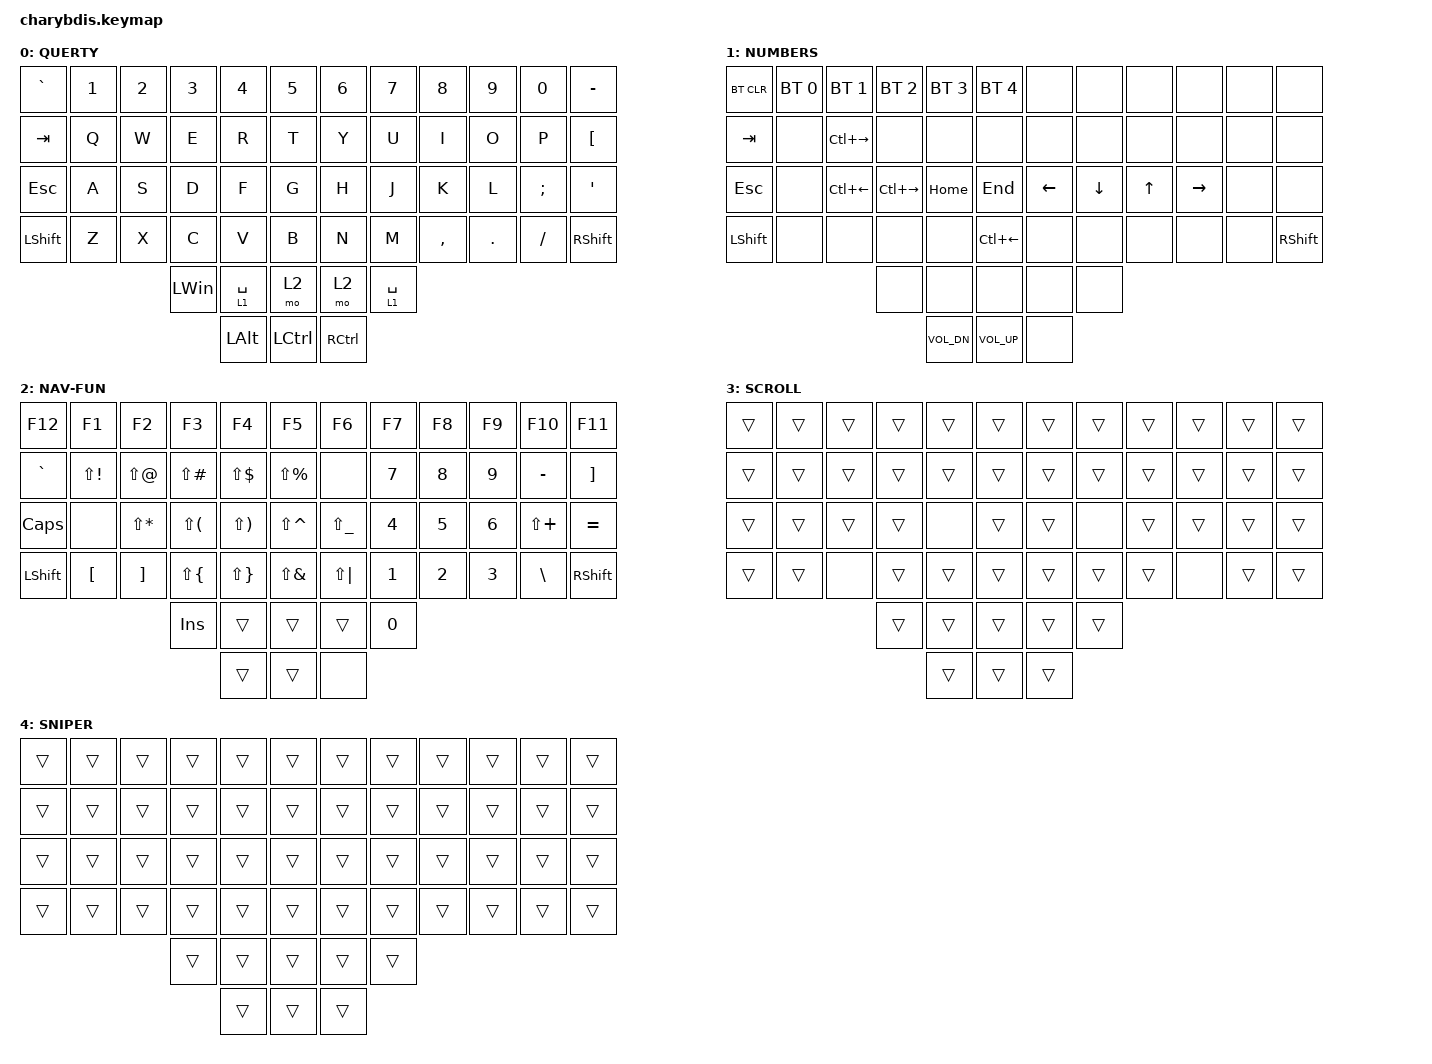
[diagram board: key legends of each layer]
#include "keys_de_swiss.h"
#include <dt-bindings/zmk/mouse.h>
#include <behaviors/mouse_keys.dtsi>
#include <behaviors.dtsi>
#include <dt-bindings/zmk/bt.h>
#include <dt-bindings/zmk/keys.h>
#include <dt-bindings/zmk/pointing.h>

// / {
//     chosen { zmk,matrix_transform = &default_transform; };
// };

/ {
    /* input config for mouse move mode */

    trackball_listener {
        compatible = "zmk,input-behavior-listener";
        device = <&vtrackball>;
        layers = <0 1 2>;
        evt-type = <INPUT_EV_REL>;
        x-input-code = <INPUT_REL_X>;
        y-input-code = <INPUT_REL_Y>;
        scale-multiplier = <1>;
        scale-divisor = <2>;

        // bindings = <&ib_toggle_layer 7>;
    };

    /* input config for snipe mode */

    trackball_snipe_listener {
        compatible = "zmk,input-behavior-listener";
        device = <&vtrackball>;
        layers = <4>;
        evt-type = <INPUT_EV_REL>;
        x-input-code = <INPUT_REL_X>;
        y-input-code = <INPUT_REL_Y>;
        scale-multiplier = <1>;
        scale-divisor = <4>;
    };

    /* input config for mouse scroll mode */

    trackball_scroll_listener {
        compatible = "zmk,input-behavior-listener";
        device = <&vtrackball>;
        layers = <3>;
        evt-type = <INPUT_EV_REL>;
        x-input-code = <INPUT_REL_HWHEEL>;
        y-input-code = <INPUT_REL_WHEEL>;
        bindings = <&ib_hwheel_scaler 1 14 &ib_wheel_scaler 1 14>;
    };

    /* define a resolution down scaler only for INPUT_REL_WHEEL */

    ib_wheel_scaler: ib_wheel_scaler {
        compatible = "zmk,input-behavior-scaler";
        #binding-cells = <2>;
        evt-type = <INPUT_EV_REL>;
        input-code = <INPUT_REL_WHEEL>;
    };

    ib_hwheel_scaler: ib_hwheel_scaler {
        compatible = "zmk,input-behavior-scaler";
        #binding-cells = <2>;
        evt-type = <INPUT_EV_REL>;
        input-code = <INPUT_REL_HWHEEL>;  // Different input code
    };

    /* adjust cooldown waiting period for mouse key layer after activated */

    ib_toggle_layer: ib_toggle_layer {
        compatible = "zmk,input-behavior-tog-layer";
        #binding-cells = <1>;
        time-to-live-ms = <750>;
    };

    // #define QUERTZ    0
    // #define NUMBERS   1
    // #define NAV-FUN   2
    // #define MAC       3
    // #define MAC-NUM   4
    // #define MAC-NAV   5
    // #define GAME      6
    // #define GAME-NUM  7
    // #define GAME-NAV  8
    // #define SCROLL    9
    // #define SNIPER   10
    // #define FN       11

    combos {
        compatible = "zmk,combos";

        bootloader {
            bindings = <&bootloader>;
            key-positions = <0 11>;
        };

        studio_unlock {
            bindings = <&studio_unlock>;
            key-positions = <0 4>;
        };

        scroll {
            bindings = <&tog 3>;
            key-positions = <44 45>;
        };

        enter {
            bindings = <&kp ENTER>;
            key-positions = <20 21>;
        };

        backspace {
            bindings = <&kp BACKSPACE>;
            key-positions = <19 20>;
        };

        delete {
            bindings = <&kp DELETE>;
            key-positions = <15 14>;
        };

        left_click {
            bindings = <&mkp LCLK>;
            key-positions = <31 32>;
        };

        right_click {
            bindings = <&mkp RCLK>;
            key-positions = <32 33>;
        };

        middle_click {
            bindings = <&mkp MCLK>;
            key-positions = <34 33>;
        };

        snipe_layer {
            bindings = <&tog 4>;
            key-positions = <43 44>;
        };
    };

    behaviors {
        hmr: hmr {
            compatible = "zmk,behavior-hold-tap";
            label = "HMR";
            bindings = <&kp>, <&kp>;

            #binding-cells = <2>;
            tapping-term-ms = <190>;
            quick-tap-ms = <175>;
            flavor = "balanced";
            hold-trigger-key-positions = <0 1 2 3 4 5 12 13 14 15 16 17 24 25 26 27 28 29 36 37 38 39 40 41 48 49 50 53 54 51 52 55>;
            hold-trigger-on-release;
        };

        hml: hml {
            compatible = "zmk,behavior-hold-tap";
            label = "HML";
            bindings = <&kp>, <&kp>;

            #binding-cells = <2>;
            tapping-term-ms = <190>;
            quick-tap-ms = <175>;
            flavor = "balanced";
            hold-trigger-key-positions = <48 49 50 53 54 51 52 55 6 7 8 9 10 11 18 19 20 21 22 23 30 31 32 33 34 35 42 43 44 45 46 47 51 52>;
            hold-trigger-on-release;
        };
    };

    keymap {
        compatible = "zmk,keymap";

        default {
            bindings = <
&kp GRAVE       &kp N1  &kp NUMBER_2  &kp NUMBER_3  &kp NUMBER_4  &kp N5              &kp N6             &kp N7       &kp N8     &kp N9   &kp N0     &kp MINUS
&kp TAB         &kp Q   &kp W         &kp E         &kp R         &kp T               &kp Y              &kp U        &kp I      &kp O    &kp P      &kp LBKT
&kp ESCAPE      &kp A   &kp S         &kp D         &kp F         &kp G               &kp H              &kp J        &kp K      &kp L    &kp SEMI   &kp APOSTROPHE
&kp LEFT_SHIFT  &kp Z   &kp X         &kp C         &kp V         &kp B               &kp N              &kp M        &kp COMMA  &kp DOT  &kp SLASH  &kp RSHIFT
                                      &kp LEFT_WIN  &lt 1 SPACE   &mo 2               &mo 2              &lt 1 SPACE
                                                    &kp LEFT_ALT  &kp LEFT_CONTROL    &kp RIGHT_CONTROL
            >;

            label = "QUERTY";
        };

        win_raise_layer {
            bindings = <
&bt BT_CLR      &bt BT_SEL 0  &bt BT_SEL 1   &bt BT_SEL 2   &bt BT_SEL 3  &bt BT_SEL 4          &none     &none     &none   &none      &none  &none
&kp TAB         &none         &kp LC(RIGHT)  &none          &none         &none                 &none     &none     &none   &none      &none  &none
&kp ESCAPE      &none         &kp LC(LEFT)   &kp LC(RIGHT)  &kp HOME      &kp END               &kp LEFT  &kp DOWN  &kp UP  &kp RIGHT  &none  &none
&kp LEFT_SHIFT  &none         &none          &none          &none         &kp LC(LEFT_ARROW)    &none     &none     &none   &none      &none  &kp RIGHT_SHIFT
                                             &none          &none         &none                 &none     &none
                                                            &kp C_VOL_DN  &kp C_VOL_UP          &none
            >;

            label = "NUMBERS";
        };

        win_lower_layer {
            bindings = <
&kp F12    &kp F1        &kp F2        &kp F3         &kp F4        &kp F5           &kp F6         &kp F7  &kp F8  &kp F9  &kp F10       &kp F11
&kp GRAVE  &kp LS(EXCL)  &kp LS(AT)    &kp LS(POUND)  &kp LS(DLLR)  &kp LS(PRCNT)    &none          &kp N7  &kp N8  &kp N9  &kp MINUS     &kp RBKT
&kp CAPS   &none         &kp LS(STAR)  &kp LS(LPAR)   &kp LS(RPAR)  &kp LS(CARET)    &kp LS(UNDER)  &kp N4  &kp N5  &kp N6  &kp LS(PLUS)  &kp EQUAL
&kp LSHFT  &kp LBKT      &kp RBKT      &kp LS(LBRC)   &kp LS(RBRC)  &kp LS(AMPS)     &kp LS(PIPE)   &kp N1  &kp N2  &kp N3  &kp BSLH      &kp RSHFT
                                       &kp INS        &trans        &trans           &trans         &kp N0
                                                      &trans        &trans           &none
            >;

            label = "NAV-FUN";
        };

        scroll_layer {
            bindings = <
&trans  &trans  &trans  &trans  &trans  &trans    &trans  &trans  &trans  &trans  &trans  &trans
&trans  &trans  &trans  &trans  &trans  &trans    &trans  &trans  &trans  &trans  &trans  &trans
&trans  &trans  &trans  &trans  &none   &trans    &trans  &none   &trans  &trans  &trans  &trans
&trans  &trans  &none   &trans  &trans  &trans    &trans  &trans  &trans  &none   &trans  &trans
                        &trans  &trans  &trans    &trans  &trans
                                &trans  &trans    &trans
            >;

            label = "SCROLL";
        };

        sniper_layer {
            bindings = <
&trans  &trans  &trans  &trans  &trans  &trans    &trans  &trans  &trans  &trans  &trans  &trans
&trans  &trans  &trans  &trans  &trans  &trans    &trans  &trans  &trans  &trans  &trans  &trans
&trans  &trans  &trans  &trans  &trans  &trans    &trans  &trans  &trans  &trans  &trans  &trans
&trans  &trans  &trans  &trans  &trans  &trans    &trans  &trans  &trans  &trans  &trans  &trans
                        &trans  &trans  &trans    &trans  &trans
                                &trans  &trans    &trans
            >;

            label = "SNIPER";
        };
    };
};
